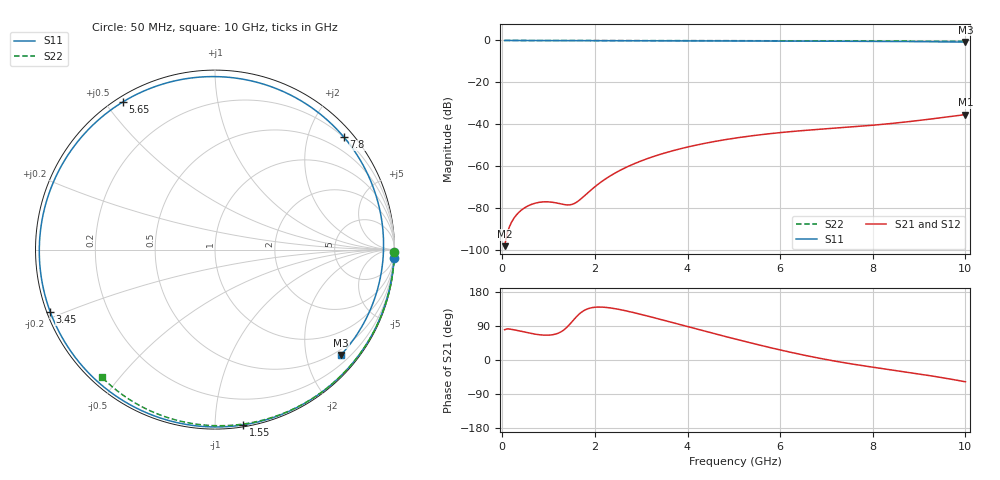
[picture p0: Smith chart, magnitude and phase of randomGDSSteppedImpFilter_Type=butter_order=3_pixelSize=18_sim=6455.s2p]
! freq	dB(S11)	phase(S11)	dB(S12)	phase(S12)
!  dB(S21)	phase(S21)	dB(S22)	phase(S22)
!S-par simulation data
#  GHz  S  DB  R 50
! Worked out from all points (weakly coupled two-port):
!   200 points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, 50 MHz to 10 GHz, reference 50 ohm
!   highest |S21| = -35.36 dB at 10 GHz (marker M1); lowest = -98.1 dB at 50 MHz (marker M2)
!   lowest |S11| = -0.8 dB at 10 GHz (marker M3), VSWR 22.49, Z = 18.8 - j136 ohm
!   |S11| at or under -10 dB: nowhere
!   |S22| runs from -0.4 to 0.0 dB; largest |S21 - S12| = 0
!   S11 on the Smith chart (normalised r, x): 50 MHz: 1, -43; 1.55 GHz: 0.01, -1.17; 3.45 GHz: 0.01, -0.18; 5.65 GHz: 0.02, +0.55; 7.8 GHz: 0.19, +2.66; 10 GHz: 0.38, -2.71
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0.05  -0.01 -2.7  -98.14 80.0  -98.14 80.0  -0.00 -0.8
0.45  -0.04 -24.6  -80.31 74.4  -80.31 74.4  -0.01 -6.8
0.85  -0.06 -46.0  -77.07 66.0  -77.07 66.0  -0.02 -12.8
1.2  -0.08 -63.9  -77.65 70.4  -77.65 70.4  -0.02 -18.1
1.4  -0.09 -73.7  -78.46 86.9  -78.46 86.9  -0.03 -21.0
1.55  -0.09 -80.9  -77.83 107.3  -77.83 107.3  -0.03 -23.3
1.75  -0.10 -90.2  -74.59 129.5  -74.59 129.5  -0.03 -26.2
2.1  -0.12 -105.8  -68.06 139.7  -68.06 139.7  -0.04 -31.3
2.45  -0.13 -120.5  -63.08 135.1  -63.08 135.1  -0.05 -36.4
2.95  -0.15 -140.5  -57.89 121.7  -57.89 121.7  -0.06 -43.6
3.4  -0.16 -157.5  -54.41 107.7  -54.41 107.7  -0.07 -49.9
3.45  -0.16 -159.3  -54.07 106.1  -54.07 106.1  -0.07 -50.6
4.25  -0.19 171.8  -49.63 80.1  -49.63 80.1  -0.09 -61.6
5.05  -0.23 143.5  -46.51 54.7  -46.51 54.7  -0.11 -72.2
5.65  -0.27 122.0  -44.78 36.6  -44.78 36.6  -0.13 -80.0
6.2  -0.30 101.9  -43.54 21.1  -43.54 21.1  -0.16 -86.9
6.7  -0.33 83.1  -42.62 8.2  -42.62 8.2  -0.18 -93.1
7.25  -0.37 62.2  -41.73 -4.4  -41.73 -4.4  -0.21 -99.8
7.8  -0.42 41.0  -40.81 -15.3  -40.81 -15.3  -0.25 -106.3
8.35  -0.48 20.0  -39.72 -25.1  -39.72 -25.1  -0.29 -112.7
9.15  -0.59 -9.9  -37.76 -39.7  -37.76 -39.7  -0.36 -121.9
10  -0.77 -39.9  -35.36 -57.4  -35.36 -57.4  -0.45 -131.5
